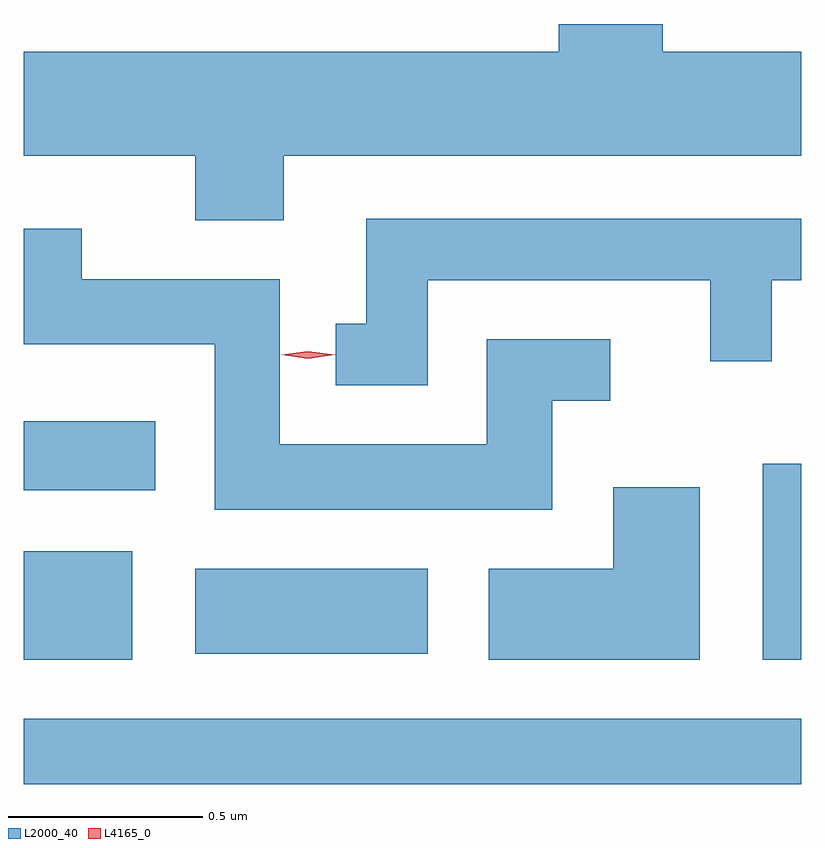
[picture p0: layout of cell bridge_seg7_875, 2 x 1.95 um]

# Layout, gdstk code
import gdstk
lib = gdstk.Library(unit=1e-6, precision=1e-09)
def R(c, l, rs):  # rectangles x0, y0, x1, y1
    for r in rs: c.add(gdstk.rectangle(r[:2], r[2:], *l))
def P(c, l, *ps):  # polygons
    for p in ps: c.add(gdstk.Polygon(p, *l))
L2000_40 = (2000, 40)
L4165_0 = (4165, 0)

bridge_seg7_875 = lib.new_cell('bridge_seg7_875')
R(bridge_seg7_875, L2000_40, [(313.6,1668.301,315.6,1668.469), (313.6,1668.621,313.879,1668.899), (315.501,1668.621,315.6,1669.124), (314.041,1668.636,314.639,1668.854), (313.6,1669.056,313.939,1669.234)])
P(bridge_seg7_875, L2000_40, [(314.269,1669.916),(315.6,1669.916),(315.6,1670.184),(315.244,1670.184),(315.244,1670.255),(314.976,1670.255),(314.976,1670.184),(313.6,1670.184),(313.6,1669.916),(314.041,1669.916),(314.041,1669.751),(314.269,1669.751)],
  [(314.639,1669.596),(315.366,1669.596),(315.366,1669.388),(315.524,1669.388),(315.524,1669.596),(315.6,1669.596),(315.6,1669.754),(314.481,1669.754),(314.481,1669.484),(314.403,1669.484),(314.403,1669.326),(314.639,1669.326)],
  [(314.959,1669.286),(315.108,1669.286),(315.108,1669.444),(314.791,1669.444),(314.791,1669.174),(314.259,1669.174),(314.259,1669.599),(313.749,1669.599),(313.749,1669.728),(313.6,1669.728),(313.6,1669.431),(314.091,1669.431),(314.091,1669.006),(314.959,1669.006)],
  [(315.339,1669.064),(315.116,1669.064),(315.116,1668.854),(314.796,1668.854),(314.796,1668.621),(315.339,1668.621)])
P(bridge_seg7_875, L4165_0, [(314.331,1669.394),(314.262,1669.404),(314.262,1669.404),(314.262,1669.404),(314.331,1669.414),(314.401,1669.405),(314.401,1669.405),(314.401,1669.404)])

lib.write_gds('bridge_seg7_875.gds')
